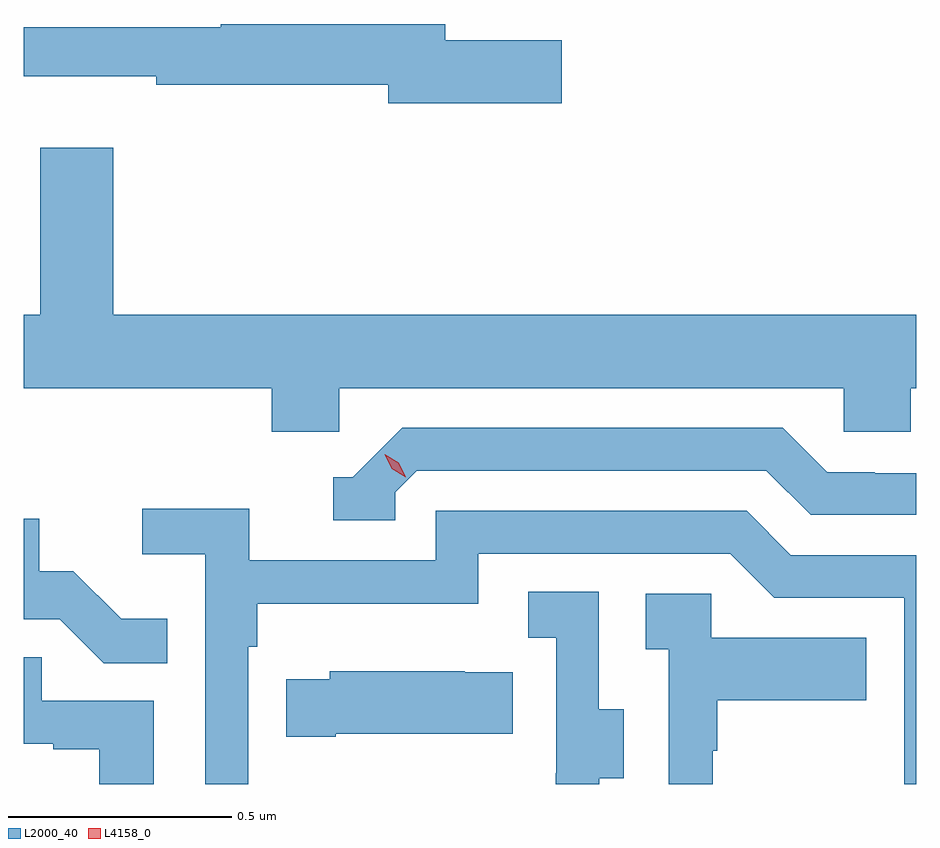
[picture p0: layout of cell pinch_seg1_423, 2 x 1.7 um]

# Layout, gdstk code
import gdstk
lib = gdstk.Library(unit=1e-6, precision=1e-09)
def P(c, l, *ps):  # polygons
    for p in ps: c.add(gdstk.Polygon(p, *l))
L2000_40 = (2000, 40)
L4158_0 = (4158, 0)

pinch_seg1_423 = lib.new_cell('pinch_seg1_423')
P(pinch_seg1_423, L2000_40, [(909.433,536.528),(909.172,536.528),(909.172,536.564),(908.668,536.564),(908.668,536.557),(908.227,536.557),(908.227,536.447),(908.524,536.447),(908.524,536.428),(909.044,536.428),(909.044,536.386),(909.433,536.386)],
  [(908.934,535.748),(910.065,535.748),(910.065,535.65),(910.215,535.65),(910.215,535.748),(910.227,535.748),(910.227,535.912),(908.428,535.912),(908.428,536.287),(908.264,536.287),(908.264,535.912),(908.227,535.912),(908.227,535.748),(908.783,535.748),(908.783,535.65),(908.934,535.65)],
  [(909.06,535.515),(909.108,535.563),(909.891,535.563),(909.99,535.464),(910.227,535.464),(910.227,535.557),(910.134,535.557),(910.134,535.56),(910.027,535.56),(909.928,535.659),(909.075,535.659),(908.964,535.548),(908.921,535.548),(908.921,535.452),(909.06,535.452)],
  [(908.73,535.169),(908.75,535.169),(908.75,535.265),(909.246,535.265),(909.246,535.377),(909.81,535.377),(909.909,535.278),(910.2,535.278),(910.2,534.861),(910.227,534.861),(910.227,535.374),(909.946,535.374),(909.847,535.473),(909.15,535.473),(909.15,535.362),(908.732,535.362),(908.732,535.478),(908.493,535.478),(908.493,535.376),(908.634,535.376),(908.634,534.861),(908.73,534.861)],
  [(908.549,535.231),(908.445,535.231),(908.338,535.338),(908.262,535.338),(908.262,535.455),(908.227,535.455),(908.227,535.23),(908.308,535.23),(908.406,535.132),(908.549,535.132)],
  [(909.517,534.874),(909.571,534.874),(909.571,535.029),(909.516,535.029),(909.516,535.292),(909.357,535.292),(909.357,535.189),(909.42,535.189),(909.42,534.885),(909.419,534.885),(909.419,534.861),(909.517,534.861)],
  [(909.771,534.935),(909.781,534.935),(909.781,535.049),(910.115,535.049),(910.115,535.189),(909.768,535.189),(909.768,535.287),(909.621,535.287),(909.621,535.163),(909.672,535.163),(909.672,534.861),(909.771,534.861)],
  [(908.518,535.047),(908.267,535.047),(908.267,535.145),(908.227,535.145),(908.227,534.951),(908.293,534.951),(908.293,534.939),(908.396,534.939),(908.396,534.861),(908.518,534.861)],
  [(908.926,534.974),(909.323,534.974),(909.323,535.111),(909.215,535.111),(909.215,535.114),(908.913,535.114),(908.913,535.096),(908.815,535.096),(908.815,534.967),(908.926,534.967)])
P(pinch_seg1_423, L4158_0, [(909.083,535.548),(909.052,535.567),(909.036,535.6),(909.036,535.6),(909.036,535.6),(909.067,535.581),(909.083,535.548),(909.083,535.548)])

lib.write_gds('pinch_seg1_423.gds')
